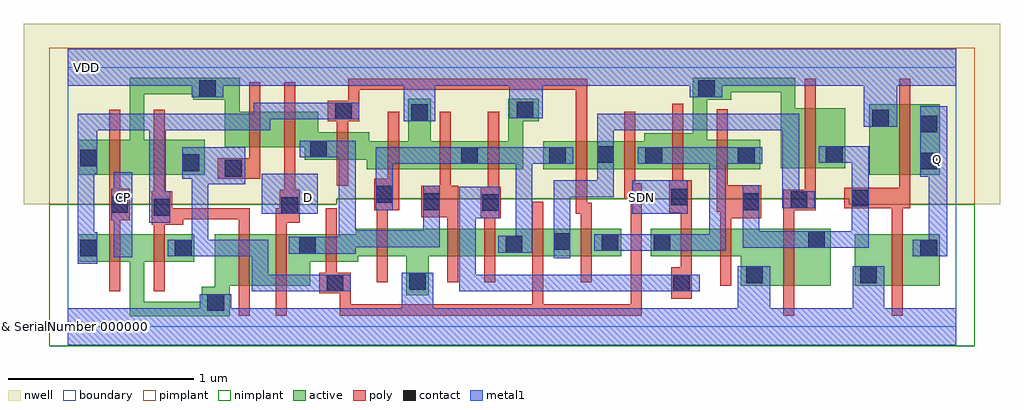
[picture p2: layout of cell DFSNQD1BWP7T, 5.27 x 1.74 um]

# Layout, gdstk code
import gdstk
lib = gdstk.Library(unit=1e-6, precision=1e-09)
def R(c, l, rs):  # rectangles x0, y0, x1, y1
    for r in rs: c.add(gdstk.rectangle(r[:2], r[2:], *l))
def P(c, l, *ps):  # polygons
    for p in ps: c.add(gdstk.Polygon(p, *l))
nwell = (3, 0)
active = (6, 0)
poly = (17, 0)
pimplant = (25, 0)
nimplant = (26, 0)
contact = (30, 0)
metal1 = (31, 0)
boundary = (108, 0)

dfsnqd1bwp7t = lib.new_cell('DFSNQD1BWP7T')
P(dfsnqd1bwp7t, nwell, [(-0.235,0.66),(-0.235,1.635),(5.035,1.635),(5.035,0.66),(4.22,0.66),(4.22,0.69),(1.455,0.69),(1.455,0.66)])
R(dfsnqd1bwp7t, active, [(4.25,0.22,4.71,0.5), (4.33,0.82,4.71,1.2)])
P(dfsnqd1bwp7t, active, [(0.335,0.055),(0.335,0.35),(0.055,0.35),(0.055,0.5),(0.685,0.5),(0.685,0.35),(0.415,0.35),(0.415,0.135),(0.725,0.135),(0.725,0.215),(0.795,0.215),(0.795,0.5),(1.555,0.5),(1.555,0.53),(2.99,0.53),(2.99,0.38),(1.95,0.38),(1.95,0.17),(1.83,0.17),(1.83,0.38),(1.57,0.38),(1.57,0.35),(1.31,0.35),(1.31,0.22),(0.875,0.22),(0.875,0.055)],
  [(3.635,0.22),(3.635,0.38),(3.15,0.38),(3.15,0.53),(4.12,0.53),(4.12,0.22)],
  [(0.055,0.82),(0.055,1.01),(0.335,1.01),(0.335,1.345),(0.93,1.345),(0.93,1.16),(1.355,1.16),(1.355,1.05),(1.63,1.05),(1.63,1),(1.84,1),(1.84,1.23),(1.96,1.23),(1.96,1),(2.38,1),(2.38,1.23),(2.545,1.23),(2.545,1.11),(2.46,1.11),(2.46,0.85),(1.615,0.85),(1.615,0.9),(1.28,0.9),(1.28,0.97),(0.85,0.97),(0.85,1.225),(0.68,1.225),(0.68,1.255),(0.415,1.255),(0.415,1.01),(0.74,1.01),(0.74,0.82)],
  [(2.57,0.85),(2.57,1),(3.115,1),(3.115,1.045),(3.375,1.045),(3.375,1.345),(3.93,1.345),(3.93,1.18),(4.2,1.18),(4.2,0.855),(3.85,0.855),(3.85,1.265),(3.585,1.265),(3.585,1.225),(3.455,1.225),(3.455,1.01),(3.74,1.01),(3.74,0.85)])
P(dfsnqd1bwp7t, poly, [(0.225,0.19),(0.225,1.17),(0.285,1.17),(0.285,0.745),(0.335,0.745),(0.335,0.575),(0.285,0.575),(0.285,0.19)],
  [(0.465,0.19),(0.465,0.55),(0.455,0.55),(0.455,0.73),(0.465,0.73),(0.465,1.17),(0.525,1.17),(0.525,0.73),(0.565,0.73),(0.565,0.64),(0.985,0.64),(0.985,0.06),(0.925,0.06),(0.925,0.58),(0.625,0.58),(0.625,0.55),(0.525,0.55),(0.525,0.19)],
  [(1.67,0.24),(1.67,0.63),(1.655,0.63),(1.655,0.8),(1.73,0.8),(1.73,1.16),(1.79,1.16),(1.79,0.63),(1.73,0.63),(1.73,0.24)],
  [(2.05,0.24),(2.05,0.59),(1.91,0.59),(1.91,0.76),(2.01,0.76),(2.01,1.16),(2.07,1.16),(2.07,0.76),(2.11,0.76),(2.11,0.24)],
  [(2.25,0.24),(2.25,0.585),(2.23,0.585),(2.23,0.755),(2.27,0.755),(2.27,1.16),(2.33,1.16),(2.33,0.755),(2.34,0.755),(2.34,0.585),(2.31,0.585),(2.31,0.24)],
  [(1.47,0.06),(1.47,0.18),(1.36,0.18),(1.36,0.29),(1.395,0.29),(1.395,0.64),(1.455,0.64),(1.455,0.29),(1.53,0.29),(1.53,0.12),(2.51,0.12),(2.51,0.675),(2.57,0.675),(2.57,0.12),(3.04,0.12),(3.04,0.69),(3.005,0.69),(3.005,1.16),(3.065,1.16),(3.065,0.775),(3.1,0.775),(3.1,0.06)],
  [(3.26,0.15),(3.26,0.32),(3.31,0.32),(3.31,0.615),(3.25,0.615),(3.25,0.79),(3.265,0.79),(3.265,1.205),(3.325,1.205),(3.325,0.79),(3.37,0.79),(3.37,0.15)],
  [(3.525,0.22),(3.525,0.62),(3.505,0.62),(3.505,1.175),(3.565,1.175),(3.565,0.765),(3.745,0.765),(3.745,0.585),(3.585,0.585),(3.585,0.22)],
  [(3.865,0.06),(3.865,0.74),(3.98,0.74),(3.98,1.34),(4.04,1.34),(4.04,0.63),(3.925,0.63),(3.925,0.06)],
  [(4.45,0.06),(4.45,0.64),(4.195,0.64),(4.195,0.75),(4.49,0.75),(4.49,1.34),(4.55,1.34),(4.55,0.64),(4.51,0.64),(4.51,0.06)],
  [(0.81,0.8),(0.81,0.91),(0.98,0.91),(0.98,1.32),(1.04,1.32),(1.04,0.8)],
  [(1.125,0.06),(1.125,0.64),(1.145,0.64),(1.145,0.74),(1.17,0.74),(1.17,1.32),(1.23,1.32),(1.23,0.74),(1.255,0.74),(1.255,0.56),(1.185,0.56),(1.185,0.06)],
  [(2.77,0.24),(2.77,0.61),(2.745,0.61),(2.745,1.28),(1.575,1.28),(1.575,1.11),(1.515,1.11),(1.515,0.76),(1.455,0.76),(1.455,1.11),(1.405,1.11),(1.405,1.22),(1.515,1.22),(1.515,1.34),(2.805,1.34),(2.805,0.67),(2.83,0.67),(2.83,0.24)])
P(dfsnqd1bwp7t, pimplant, [(-0.1,0.66),(-0.1,1.505),(4.9,1.505),(4.9,0.66),(4.22,0.66),(4.22,0.69),(1.455,0.69),(1.455,0.66)])
P(dfsnqd1bwp7t, nimplant, [(-0.1,-0.105),(-0.1,0.66),(1.455,0.66),(1.455,0.69),(4.22,0.69),(4.22,0.66),(4.9,0.66),(4.9,-0.105)])
R(dfsnqd1bwp7t, contact, [(0.755,0.085,0.845,0.175), (1.4,0.19,1.49,0.28), (3.27,0.19,3.36,0.28), (1.845,0.2,1.935,0.29), (3.665,0.235,3.755,0.325), (4.28,0.235,4.37,0.325), (0.07,0.38,0.16,0.47), (0.58,0.38,0.67,0.47), (4.605,0.38,4.695,0.47), (1.25,0.395,1.34,0.485), (2.365,0.4,2.455,0.49), (2.885,0.41,2.975,0.5), (3.165,0.41,3.255,0.5), (2.625,0.415,2.715,0.505), (4,0.425,4.09,0.515), (0.465,0.6,0.555,0.69), (1.155,0.61,1.245,0.7), (0.235,0.615,0.325,0.705), (2.24,0.625,2.33,0.715), (1.92,0.63,2.01,0.72), (3.645,0.63,3.735,0.72), (3.905,0.64,3.995,0.73), (4.235,0.65,4.325,0.74), (3.26,0.655,3.35,0.745), (1.665,0.67,1.755,0.76), (0.85,0.81,0.94,0.9), (0.62,0.84,0.71,0.93), (4.605,0.85,4.695,0.94), (0.07,0.865,0.16,0.955), (2.125,0.88,2.215,0.97), (2.6,0.88,2.69,0.97), (3.12,0.88,3.21,0.97), (3.62,0.88,3.71,0.97), (2.86,0.885,2.95,0.975), (4.095,0.885,4.185,0.975), (1.31,0.915,1.4,1.005), (4.605,1.05,4.695,1.14), (4.345,1.08,4.435,1.17), (1.855,1.11,1.945,1.2), (1.445,1.12,1.535,1.21), (2.425,1.125,2.515,1.215), (0.71,1.24,0.8,1.33), (3.405,1.24,3.495,1.33)])
R(dfsnqd1bwp7t, metal1, [(1.05,0.61,1.35,0.825), (3.05,0.61,3.35,0.79)])
P(dfsnqd1bwp7t, metal1, [(2.115,0.19),(2.115,0.755),(2.33,0.755),(2.33,0.585),(2.205,0.585),(2.205,0.28),(3.415,0.28),(3.415,0.19)],
  [(0.25,0.375),(0.25,0.575),(0.235,0.575),(0.235,0.745),(0.25,0.745),(0.25,0.835),(0.35,0.835),(0.35,0.375)],
  [(0.54,0.38),(0.54,0.47),(0.67,0.47),(0.67,0.8),(0.62,0.8),(0.62,0.97),(0.96,0.97),(0.96,0.77),(0.76,0.77),(0.76,0.47),(1.085,0.47),(1.085,0.28),(1.53,0.28),(1.53,0.19),(0.995,0.19),(0.995,0.38)],
  [(1.195,0.395),(1.195,0.485),(1.465,0.485),(1.465,0.915),(1.255,0.915),(1.255,1.005),(1.555,1.005),(1.555,0.52),(1.92,0.52),(1.92,0.76),(2.01,0.76),(2.01,0.43),(1.555,0.43),(1.555,0.395)],
  [(2.325,0.4),(2.325,0.49),(2.42,0.49),(2.42,0.88),(1.755,0.88),(1.755,0.63),(1.665,0.63),(1.665,0.97),(2.73,0.97),(2.73,0.88),(2.51,0.88),(2.51,0.4)],
  [(2.845,0.41),(2.845,0.5),(3.465,0.5),(3.465,0.88),(3.08,0.88),(3.08,0.97),(3.75,0.97),(3.75,0.88),(3.555,0.88),(3.555,0.41)],
  [(3.645,0.425),(3.645,0.765),(3.735,0.765),(3.735,0.515),(4.235,0.515),(4.235,0.885),(4.055,0.885),(4.055,0.975),(4.325,0.975),(4.325,0.425)],
  [(4.565,0.38),(4.565,0.47),(4.65,0.47),(4.65,0.81),(4.605,0.81),(4.605,1.19),(4.75,1.19),(4.75,0.38)],
  [(0.055,0.34),(0.055,1.15),(1.005,1.15),(1.005,1.21),(1.575,1.21),(1.575,1.12),(1.095,1.12),(1.095,1.06),(0.53,1.06),(0.53,0.73),(0.555,0.73),(0.555,0.56),(0.44,0.56),(0.44,1.06),(0.16,1.06),(0.16,0.825),(0.145,0.825),(0.145,0.51),(0.16,0.51),(0.16,0.34)],
  [(2.625,0.37),(2.625,0.79),(2.86,0.79),(2.86,1.15),(3.95,1.15),(3.95,0.73),(4.035,0.73),(4.035,0.64),(3.86,0.64),(3.86,1.06),(2.95,1.06),(2.95,0.7),(2.715,0.7),(2.715,0.37)],
  [(4.3,1.08),(4.3,1.3),(3.535,1.3),(3.535,1.24),(3.36,1.24),(3.36,1.3),(2.565,1.3),(2.565,1.125),(2.385,1.125),(2.385,1.3),(1.985,1.3),(1.985,1.11),(1.815,1.11),(1.815,1.3),(0.84,1.3),(0.84,1.24),(0.67,1.24),(0.67,1.3),(0,1.3),(0,1.5),(4.8,1.5),(4.8,1.3),(4.48,1.3),(4.48,1.08)],
  [(0,-0.1),(0,0.1),(0.715,0.1),(0.715,0.175),(0.885,0.175),(0.885,0.1),(1.805,0.1),(1.805,0.29),(1.975,0.29),(1.975,0.1),(3.62,0.1),(3.62,0.325),(3.795,0.325),(3.795,0.1),(4.24,0.1),(4.24,0.325),(4.41,0.325),(4.41,0.1),(4.8,0.1),(4.8,-0.1)])
R(dfsnqd1bwp7t, boundary, [(0,0,4.8,1.4)])
dfsnqd1bwp7t.add(gdstk.Label('& SerialNumber 000000', (0,0), layer=63, texttype=63))
dfsnqd1bwp7t.add(gdstk.Label('& Distributor TSMC', (0,0), layer=63, texttype=63))
dfsnqd1bwp7t.add(gdstk.Label('& Metric 6.720', (0,0), layer=63, texttype=63))
dfsnqd1bwp7t.add(gdstk.Label('& _Instance_tag DFSNQD1BWP7T', (0,0), layer=63, texttype=63))
dfsnqd1bwp7t.add(gdstk.Label('& Version 141a', (0,0), layer=63, texttype=63))
dfsnqd1bwp7t.add(gdstk.Label('& Product tcbn65lpbwp7t', (0,0), layer=63, texttype=63))
dfsnqd1bwp7t.add(gdstk.Label('& Vendor Taiwan Semiconductor Manufacturing Corp.', (0,0), layer=63, texttype=63))
dfsnqd1bwp7t.add(gdstk.Label('& SerialNumber 000000', (0,0), layer=6, texttype=0))
dfsnqd1bwp7t.add(gdstk.Label('& Distributor TSMC', (0,0), layer=6, texttype=0))
dfsnqd1bwp7t.add(gdstk.Label('& Metric 6.720', (0,0), layer=6, texttype=0))
dfsnqd1bwp7t.add(gdstk.Label('& _Instance_tag DFSNQD1BWP7T', (0,0), layer=6, texttype=0))
dfsnqd1bwp7t.add(gdstk.Label('& Version 141a', (0,0), layer=6, texttype=0))
dfsnqd1bwp7t.add(gdstk.Label('& Product tcbn65lpbwp7t', (0,0), layer=6, texttype=0))
dfsnqd1bwp7t.add(gdstk.Label('& Vendor Taiwan Semiconductor Manufacturing Corp.', (0,0), layer=6, texttype=0))
dfsnqd1bwp7t.add(gdstk.Label('Q', (4.7,0.9), layer=131, texttype=0))
dfsnqd1bwp7t.add(gdstk.Label('SDN', (3.1,0.7), layer=131, texttype=0))
dfsnqd1bwp7t.add(gdstk.Label('VSS', (0.1,0), layer=131, texttype=0))
dfsnqd1bwp7t.add(gdstk.Label('D', (1.3,0.7), layer=131, texttype=0))
dfsnqd1bwp7t.add(gdstk.Label('CP', (0.3,0.7), layer=131, texttype=0))
dfsnqd1bwp7t.add(gdstk.Label('VDD', (0.1,1.4), layer=131, texttype=0))
dfsnqd1bwp7t.add(gdstk.Label('DFSNQD1BWP7T', (0,0), layer=127, texttype=0))

lib.write_gds('DFSNQD1BWP7T.gds')
